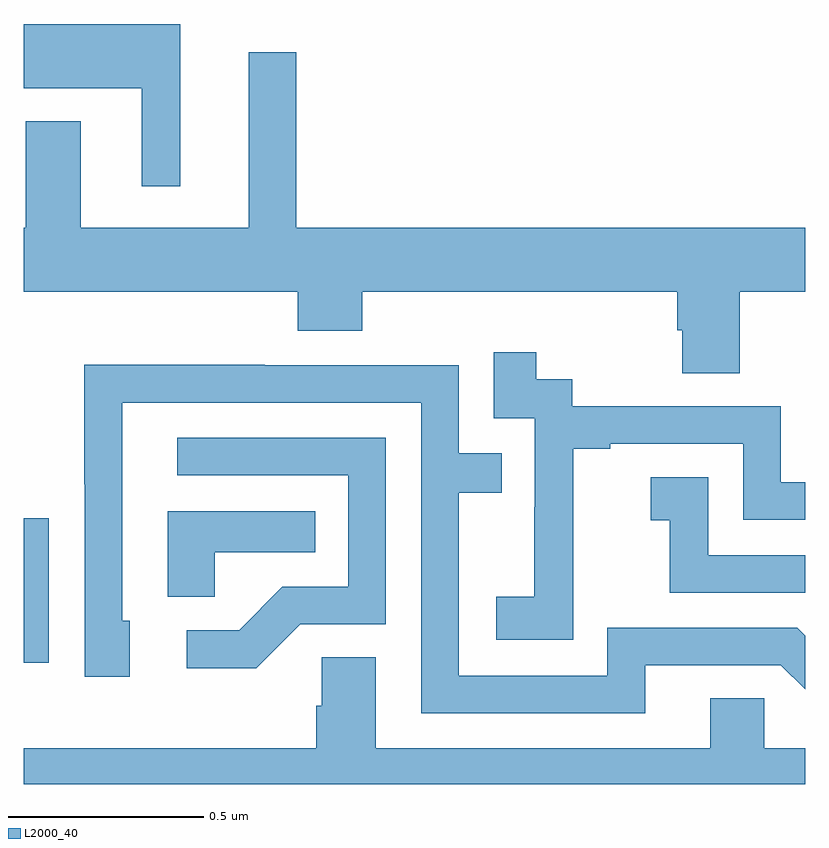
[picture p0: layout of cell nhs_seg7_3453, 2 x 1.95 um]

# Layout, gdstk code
import gdstk
lib = gdstk.Library(unit=1e-6, precision=1e-09)
def R(c, l, rs):  # rectangles x0, y0, x1, y1
    for r in rs: c.add(gdstk.rectangle(r[:2], r[2:], *l))
def P(c, l, *ps):  # polygons
    for p in ps: c.add(gdstk.Polygon(p, *l))
L2000_40 = (2000, 40)

nhs_seg7_3453 = lib.new_cell('nhs_seg7_3453')
R(nhs_seg7_3453, L2000_40, [(159,1022.31,159.063,1022.68)])
P(nhs_seg7_3453, L2000_40, [(159.4,1023.946),(159,1023.946),(159,1023.782),(159.302,1023.782),(159.302,1023.531),(159.4,1023.531)],
  [(160.833,1023.26),(161,1023.26),(161,1023.424),(159.697,1023.424),(159.697,1023.874),(159.575,1023.874),(159.575,1023.424),(159.145,1023.424),(159.145,1023.697),(159.005,1023.697),(159.005,1023.424),(159,1023.424),(159,1023.26),(159.701,1023.26),(159.701,1023.161),(159.866,1023.161),(159.866,1023.26),(160.673,1023.26),(160.673,1023.162),(160.685,1023.162),(160.685,1023.052),(160.833,1023.052)],
  [(160.407,1022.575),(160.406,1022.575),(160.406,1022.859),(160.501,1022.859),(160.501,1022.871),(160.842,1022.871),(160.842,1022.676),(161,1022.676),(161,1022.772),(160.938,1022.772),(160.938,1022.967),(160.404,1022.967),(160.404,1023.036),(160.312,1023.036),(160.312,1023.106),(160.203,1023.106),(160.203,1022.937),(160.308,1022.937),(160.308,1022.708),(160.307,1022.708),(160.307,1022.479),(160.209,1022.479),(160.209,1022.369),(160.407,1022.369)],
  [(160.591,1022.304),(160.938,1022.304),(161,1022.242),(161,1022.38),(160.98,1022.4),(160.494,1022.4),(160.494,1022.277),(160.113,1022.277),(160.113,1022.746),(160.223,1022.746),(160.223,1022.847),(160.113,1022.847),(160.113,1023.072),(159.617,1023.072),(159.617,1023.074),(159.154,1023.074),(159.154,1022.767),(159.156,1022.767),(159.156,1022.274),(159.271,1022.274),(159.271,1022.418),(159.252,1022.418),(159.252,1022.976),(160.017,1022.976),(160.017,1022.181),(160.591,1022.181)],
  [(159.708,1022.409),(159.927,1022.409),(159.927,1022.886),(159.393,1022.886),(159.393,1022.79),(159.831,1022.79),(159.831,1022.505),(159.662,1022.505),(159.551,1022.394),(159.417,1022.394),(159.417,1022.297),(159.595,1022.297)],
  [(161,1022.586),(160.752,1022.586),(160.752,1022.785),(160.605,1022.785),(160.605,1022.675),(160.654,1022.675),(160.654,1022.49),(161,1022.49)],
  [(159.489,1022.594),(159.746,1022.594),(159.746,1022.698),(159.368,1022.698),(159.368,1022.479),(159.489,1022.479)],
  [(161,1022.092),(160.896,1022.092),(160.896,1022.219),(160.757,1022.219),(160.757,1022.092),(159.901,1022.092),(159.901,1022.324),(159.762,1022.324),(159.762,1022.201),(159.749,1022.201),(159.749,1022.092),(159,1022.092),(159,1022),(161,1022)])

lib.write_gds('nhs_seg7_3453.gds')
